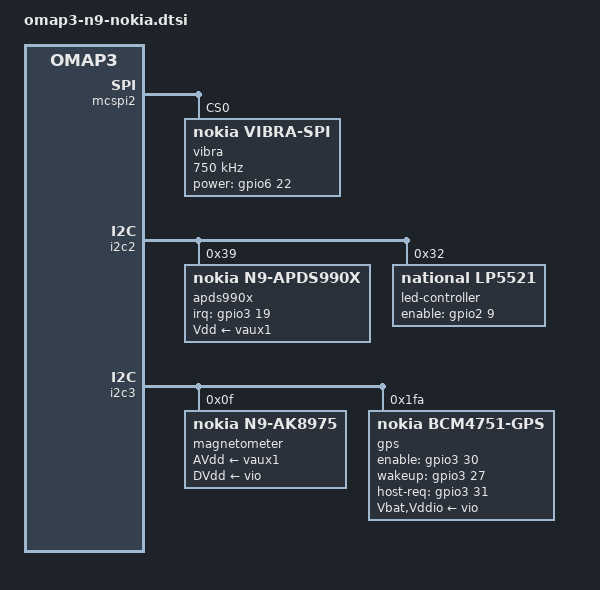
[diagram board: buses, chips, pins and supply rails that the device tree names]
// SPDX-License-Identifier: GPL-2.0-only
/*
 * N9 peripherals with drivers from Nokia's Harmattan kernel (board-rm696-peripherals.c):
 * - the vibra: its amplifier takes the waveform as a bit stream on McSPI2's data line (NOLO leaves
 *   only mcspi2_simo in SPI mode; the clock and chip-select pads are other GPIOs), powered by GPIO
 *   182; drivers/input/misc/vibra-spi.c;
 * - the APDS990x ambient light and proximity sensor on I2C2, IRQ on GPIO 83, with the N9's
 *   calibration in the driver (nokia,n9-apds990x); drivers/misc/apds990x.c, /dev/apds990x0;
 * - the notification LED: an LP5521 on I2C2, its white LED on channel 0 (mainline's leds-lp5521);
 * - the AK8975 magnetometer on I2C3 with Nokia's interface (nokia,n9-ak8975: /dev/ak89750 for
 *   sensord, the board's axis mapping in the driver); drivers/misc/nokia-ak8975.c;
 * - the BCM4751 GPS on I2C3 (nokia,bcm4751-gps: /dev/bcm4751-gps and sysfs at 3-01fa for nped),
 *   NSHUTDOWN on GPIO 94, wakeup on GPIO 91, host request on GPIO 95; drivers/misc/bcm4751-gps.c.
 */

#include <dt-bindings/gpio/gpio.h>
#include <dt-bindings/i2c/i2c.h>
#include <dt-bindings/interrupt-controller/irq.h>
#include <dt-bindings/leds/common.h>
#include <dt-bindings/leds/leds-lp55xx.h>

&mcspi2 {
	status = "okay";

	vibra@0 {
		compatible = "nokia,vibra-spi";
		reg = <0>;
		spi-max-frequency = <750000>;
		power-gpios = <&gpio6 22 GPIO_ACTIVE_HIGH>;	/* gpio 182 */
	};
};

&i2c2 {
	apds990x@39 {
		compatible = "nokia,n9-apds990x";
		reg = <0x39>;
		interrupts-extended = <&gpio3 19 IRQ_TYPE_LEVEL_LOW>;	/* gpio 83 */
		Vdd-supply = <&vaux1>;
		/* Vled: straight from the battery */
	};

	/*
	 * As stock: enable on GPIO 41, the 32 kHz clock from outside, no charge pump (the LED from the
	 * battery, leds-lp5521-cp-off.patch), 5 mA (13 mA at most). Named
	 * stock's lp5521:channel0, which Harmattan's mce drives: brightness, and mce.ini's
	 * LEDPatternNJoyRM696 programs through the chip's engine1_mode and engine1_load.
	 */
	led-controller@32 {
		compatible = "national,lp5521";
		reg = <0x32>;
		clock-mode = /bits/ 8 <2>;			/* LP55XX_CLOCK_EXT */
		clocks = <&omap_32k_fck>;
		clock-names = "32k_clk";
		ti,charge-pump-mode = <LP55XX_CP_OFF>;
		enable-gpios = <&gpio2 9 GPIO_ACTIVE_HIGH>;	/* gpio 41 */
		#address-cells = <1>;
		#size-cells = <0>;

		led@0 {
			reg = <0>;
			chan-name = "lp5521:channel0";
			color = <LED_COLOR_ID_WHITE>;
			led-cur = /bits/ 8 <50>;
			max-cur = /bits/ 8 <130>;
		};
	};
};


&i2c3 {
	/*
	 * omap3-n9.dts has it for mainline's IIO driver, after this file's include (its compatible
	 * would win): off, and the chip as its own node
	 */
	ak8975@f {
		status = "disabled";
	};

	magnetometer@f {
		compatible = "nokia,n9-ak8975";
		reg = <0x0f>;
		AVdd-supply = <&vaux1>;
		DVdd-supply = <&vio>;
	};

	/* Stock: both supplies from VIO; the pads are GPIOs from NOLO */
	gps@1fa {
		compatible = "nokia,bcm4751-gps";
		reg = <(0x1fa | I2C_TEN_BIT_ADDRESS)>;
		enable-gpios = <&gpio3 30 GPIO_ACTIVE_HIGH>;	/* gpio 94 */
		wakeup-gpios = <&gpio3 27 GPIO_ACTIVE_HIGH>;	/* gpio 91 */
		host-req-gpios = <&gpio3 31 GPIO_ACTIVE_HIGH>;	/* gpio 95 */
		Vbat-supply = <&vio>;
		Vddio-supply = <&vio>;
	};
};

/*
 * The secure ROM's random number generator (Nokia's PPA service 29, SEC_HAL_RNG_GENERATE in Harmattan's
 * sec_hal.h), through mainline's N900 glue: entropy, and the first call into the N9's secure world.
 */
/ {
	rom_rng: rng {
		compatible = "nokia,n900-rom-rng";
		clocks = <&rng_ick>;
		clock-names = "ick";
	};
};

/*
 * UART1 and UART4 aren't connected on the N9 (stock set up only UART2, Bluetooth, and UART3, the
 * debug console): off. 8250_omap keeps a UART without a serdev child out of idle (autosuspend -1),
 * and with it the CORE power domain: it never left ON on the test boots.
 */
&uart1 {
	status = "disabled";
};

&uart4 {
	status = "disabled";
};

/*
 * McSPI1, 3 and 4 aren't used on the N9 (stock: the vibra on McSPI2; McSPI4 only for an SPI WLAN,
 * the N9's is SDIO): off. The driver takes a DMA channel pair per chip select at probe, 14 of the
 * sDMA's 32, and McBSP4 (Bluetooth audio) found none left for capture.
 */
&mcspi1 {
	status = "disabled";
};

&mcspi3 {
	status = "disabled";
};

&mcspi4 {
	status = "disabled";
};

/*
 * The eMMC as mmc0, so mmcblk0 as on stock's 2.6.32: Harmattan's fstab and usb_moded name
 * /dev/mmcblk0p1 (MyDocs); with omap3.dtsi's aliases it was mmcblk1 and mass storage exported
 * nothing. MMC1 (no slot on the N9) takes index 1, the WLAN stays mmc2.
 */
/ {
	aliases {
		mmc0 = &mmc2;
		mmc1 = &mmc1;
	};
};

/*
 * Bluetooth's UART without DMA: received through DMA, bytes skip the per-character line-status
 * check, so the zeros read while the chip sleeps (its TX held low) reached the H4 framing as data
 * (serdev drops error-flagged bytes, serdev-ignore-errors.patch). Auto-RTS keeps the FIFO from
 * overrunning (8250-omap-auto-rts.patch).
 */
&uart2 {
	/delete-property/ dmas;
	/delete-property/ dma-names;
};
